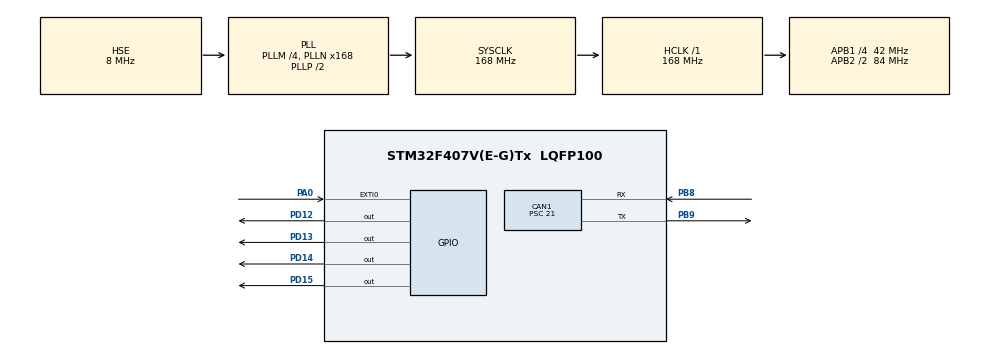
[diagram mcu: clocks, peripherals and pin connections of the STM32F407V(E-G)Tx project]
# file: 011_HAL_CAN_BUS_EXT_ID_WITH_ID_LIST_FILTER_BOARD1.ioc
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CAN1.BS1=CAN_BS1_10TQ
CAN1.BS2=CAN_BS2_5TQ
CAN1.CalculateTimeQuantum=500.0
CAN1.Prescaler=21
Mcu.Family=STM32F4
Mcu.Name=STM32F407V(E-G)Tx
Mcu.Package=LQFP100
NVIC.CAN1_RX0_IRQn=true\:0\:1\:false\:false\:true\:true\:true
NVIC.EXTI0_IRQn=true\:0\:0\:false\:false\:true\:true\:true
NVIC.PriorityGroup=NVIC_PRIORITYGROUP_0
PA0-WKUP.Signal=GPXTI0
PB8.Mode=Master
PB8.Signal=CAN1_RX
PB9.Mode=Master
PB9.Signal=CAN1_TX
PD12.Signal=GPIO_Output
PD13.Signal=GPIO_Output
PD14.Signal=GPIO_Output
PD15.Signal=GPIO_Output
PH0-OSC_IN.Mode=HSE-External-Oscillator
PH0-OSC_IN.Signal=RCC_OSC_IN
PH1-OSC_OUT.Mode=HSE-External-Oscillator
PH1-OSC_OUT.Signal=RCC_OSC_OUT
ProjectManager.HeapSize=0x200
ProjectManager.StackSize=0x400
ProjectManager.TargetToolchain=STM32CubeIDE
RCC.48MHZClocksFreq_Value=84000000
RCC.AHBFreq_Value=168000000
RCC.APB1CLKDivider=RCC_HCLK_DIV4
RCC.APB1Freq_Value=42000000
RCC.APB1TimFreq_Value=84000000
RCC.APB2CLKDivider=RCC_HCLK_DIV2
RCC.APB2Freq_Value=84000000
RCC.APB2TimFreq_Value=168000000
RCC.CortexFreq_Value=168000000
RCC.HCLKFreq_Value=168000000
RCC.HSE_VALUE=8000000
RCC.HSI_VALUE=16000000
RCC.LSE_VALUE=32768
RCC.PLLM=4
RCC.PLLN=168
RCC.PLLSourceVirtual=RCC_PLLSOURCE_HSE
RCC.SYSCLKFreq_VALUE=168000000
RCC.SYSCLKSource=RCC_SYSCLKSOURCE_PLLCLK
RCC.VCOOutputFreq_Value=336000000
board=custom

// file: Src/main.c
/* USER CODE BEGIN Header */
/**
  ******************************************************************************
  * @file           : main.c
  * @brief          : Main program body
  ******************************************************************************
  * @attention
  ***********************************************************************************************
  ***** 2 FARKLI EXT ID MASK İLE BİRDEN FAZLA ARALIKTAKİ  IDLERDEN MESAJ ALIMI    ***************
  ***********************************************************************************************
  ***********************************************************************************************
  */
/* USER CODE END Header */

#include "main.h"

/* USER CODE BEGIN Includes */
#define CAN_IDE_32    0b00000100

/* USER CODE END Includes */

CAN_HandleTypeDef hcan1;

/* USER CODE BEGIN PV */
CAN_TxHeaderTypeDef pTxHeader; // Gönderecegimiz verileri için
CAN_RxHeaderTypeDef pRxHeader; // Alacagımız veriler için
CAN_FilterTypeDef sFilterConfig; // Filtre özellikleri için

uint8_t count=0;
uint8_t rcount=0;
uint32_t pTxMailbox;
/* USER CODE END PV */

void SystemClock_Config(void);
static void MX_GPIO_Init(void);
static void MX_CAN1_Init(void);

int main(void)
{

  /* MCU Configuration--------------------------------------------------------*/

  /* Reset of all peripherals, Initializes the Flash interface and the Systick. */
  HAL_Init();

  /* Configure the system clock */
  SystemClock_Config();

  /* Initialize all configured peripherals */
  MX_GPIO_Init();
  MX_CAN1_Init();
  /* USER CODE BEGIN 2 */

      // Start CAN communication
  HAL_CAN_Start(&hcan1);

// Enable interrupt
  HAL_CAN_ActivateNotification(&hcan1, CAN_IT_RX_FIFO0_MSG_PENDING); // fifo0'a mesaj gelince aktif olsun interrupt
                                            /* hangi interruptı aktif etmek istiyorsak onun parametresini ekledik
                                             @arg CAN_Interrupts can.h kütüphanesinden parametreleri görebiliriz.  */
               // Butona basılınca can ile mesajı göndericegiz detaylar EXTI0_IRQHandler fonksiyonunda (in stm32f4xx_it.c)

// Set pHeader Parameters
  pTxHeader.DLC = 1;      // Specifies the length of the frame that will be transmitted. (Biz 1 bytlık veri gönderiyoruz)
  pTxHeader.IDE = CAN_ID_EXT;       // Specifies the type of identifier for the message that will be transmitted.
  	  	  	  	  	  	  	  	  // @ref CAN_identifier_type içinde alabilecegi degerler mevcut.
  pTxHeader.RTR = CAN_RTR_DATA;     /*!< Specifies the type of frame for the message that will be transmitted.
                                      This parameter can be a value of @ref CAN_remote_transmission_request */
  pTxHeader.ExtId = 0x12FB98;              /*!< Specifies the extended identifier. This parameter must be
  	  	  	  	  	  	  	  	  	          a number between Min_Data = 0 and Max_Data = 0x1FFFFFFF. */

      /* Board1:
   	   * Filter 0:
   	   * FilterIdHigh ,FilterIdLow : 0x1FBF9000
   	   * FilterMaskIdHigh , FilterMaskIdLow : 0x1AB03000
   	   * 2 deger geçicek
   	   * 0x1AB03000 ve  0x1FBF9000
   	   * BOARD2 ExtId 0x1AB03000 veya  0x1FBF9000 olmalı yoksa mesaj alınamaz.
   	   */

  // Alınan veriyi  CAN1_RX0_IRQHandler(void) ile alıcagız. Ayrıntılar -> stm32f4xx_it.c

// Set Filter Parameters // ***** EXT ID LIST Filtre maskeleme ile birden fazla aralıktaki mesajları alma uygulamasi:

  // Filter 0:
  sFilterConfig.FilterActivation = ENABLE;      // Enable or disable the filter.
  sFilterConfig.FilterBank = 0 ;                // Specifies the filter bank which will be initialized.
  sFilterConfig.FilterFIFOAssignment = CAN_FILTER_FIFO0;
  sFilterConfig.FilterIdHigh = 0x1FBF9000 >> 13;       // 0x1FBF9000
  sFilterConfig.FilterIdLow  = 0x1FBF9000 << 3 | CAN_IDE_32;  // 3 bit kaydırdık sola 32 bit oldu.
  	  	  	  	  	  	  	  	  	  	  	  	  	  	  	  // LOW degerinide girdik girmeseydik asagı degerler filtreden geçerdi..
  sFilterConfig.FilterMaskIdHigh =  0x1AB03000 >> 13;  // 0x1AB03000
  sFilterConfig.FilterMaskIdLow  =  0x1AB03000 << 3 | CAN_IDE_32; // CAN_IDE_32 -> EXT ID oldugunu belirtti.0x1FBF9000 de olur aynı degeri girdigimiz için.
  sFilterConfig.FilterMode = CAN_FILTERMODE_IDLIST;
  sFilterConfig.FilterScale = CAN_FILTERSCALE_32BIT;

  HAL_CAN_ConfigFilter(&hcan1, &sFilterConfig);

  /* USER CODE END 2 */

  /* Infinite loop */
  while (1)
  {

  }
}

void SystemClock_Config(void)
{
  RCC_OscInitTypeDef RCC_OscInitStruct = {0};
  RCC_ClkInitTypeDef RCC_ClkInitStruct = {0};

  /**Configure the main internal regulator output voltage
  */
  __HAL_RCC_PWR_CLK_ENABLE();
  __HAL_PWR_VOLTAGESCALING_CONFIG(PWR_REGULATOR_VOLTAGE_SCALE1);
  /**Initializes the CPU, AHB and APB busses clocks
  */
  RCC_OscInitStruct.OscillatorType = RCC_OSCILLATORTYPE_HSE;
  RCC_OscInitStruct.HSEState = RCC_HSE_ON;
  RCC_OscInitStruct.PLL.PLLState = RCC_PLL_ON;
  RCC_OscInitStruct.PLL.PLLSource = RCC_PLLSOURCE_HSE;
  RCC_OscInitStruct.PLL.PLLM = 4;
  RCC_OscInitStruct.PLL.PLLN = 168;
  RCC_OscInitStruct.PLL.PLLP = RCC_PLLP_DIV2;
  RCC_OscInitStruct.PLL.PLLQ = 4;
  if (HAL_RCC_OscConfig(&RCC_OscInitStruct) != HAL_OK)
  {
    Error_Handler();
  }
  /**Initializes the CPU, AHB and APB busses clocks
  */
  RCC_ClkInitStruct.ClockType = RCC_CLOCKTYPE_HCLK|RCC_CLOCKTYPE_SYSCLK
                              |RCC_CLOCKTYPE_PCLK1|RCC_CLOCKTYPE_PCLK2;
  RCC_ClkInitStruct.SYSCLKSource = RCC_SYSCLKSOURCE_PLLCLK;
  RCC_ClkInitStruct.AHBCLKDivider = RCC_SYSCLK_DIV1;
  RCC_ClkInitStruct.APB1CLKDivider = RCC_HCLK_DIV4;
  RCC_ClkInitStruct.APB2CLKDivider = RCC_HCLK_DIV2;

  if (HAL_RCC_ClockConfig(&RCC_ClkInitStruct, FLASH_LATENCY_5) != HAL_OK)
  {
    Error_Handler();
  }
}

static void MX_CAN1_Init(void)
{

  hcan1.Instance = CAN1;
  hcan1.Init.Prescaler = 21;
  hcan1.Init.Mode = CAN_MODE_NORMAL;
  hcan1.Init.SyncJumpWidth = CAN_SJW_1TQ;
  hcan1.Init.TimeSeg1 = CAN_BS1_10TQ;
  hcan1.Init.TimeSeg2 = CAN_BS2_5TQ;
  hcan1.Init.TimeTriggeredMode = DISABLE;
  hcan1.Init.AutoBusOff = DISABLE;
  hcan1.Init.AutoWakeUp = DISABLE;
  hcan1.Init.AutoRetransmission = DISABLE;
  hcan1.Init.ReceiveFifoLocked = DISABLE;
  hcan1.Init.TransmitFifoPriority = DISABLE;
  if (HAL_CAN_Init(&hcan1) != HAL_OK)
  {
    Error_Handler();
  }

}

static void MX_GPIO_Init(void)
{
  GPIO_InitTypeDef GPIO_InitStruct = {0};

  /* GPIO Ports Clock Enable */
  __HAL_RCC_GPIOH_CLK_ENABLE();
  __HAL_RCC_GPIOA_CLK_ENABLE();
  __HAL_RCC_GPIOD_CLK_ENABLE();
  __HAL_RCC_GPIOB_CLK_ENABLE();

  /*Configure GPIO pin Output Level */
  HAL_GPIO_WritePin(GPIOD, GPIO_PIN_12|GPIO_PIN_13|GPIO_PIN_14|GPIO_PIN_15, GPIO_PIN_RESET);

  /*Configure GPIO pin : PA0 */
  GPIO_InitStruct.Pin = GPIO_PIN_0;
  GPIO_InitStruct.Mode = GPIO_MODE_IT_RISING;
  GPIO_InitStruct.Pull = GPIO_PULLDOWN;
  HAL_GPIO_Init(GPIOA, &GPIO_InitStruct);

  /*Configure GPIO pins : PD12 PD13 PD14 PD15 */
  GPIO_InitStruct.Pin = GPIO_PIN_12|GPIO_PIN_13|GPIO_PIN_14|GPIO_PIN_15;
  GPIO_InitStruct.Mode = GPIO_MODE_OUTPUT_PP;
  GPIO_InitStruct.Pull = GPIO_NOPULL;
  GPIO_InitStruct.Speed = GPIO_SPEED_FREQ_LOW;
  HAL_GPIO_Init(GPIOD, &GPIO_InitStruct);

  /* EXTI interrupt init*/
  HAL_NVIC_SetPriority(EXTI0_IRQn, 0, 0);
  HAL_NVIC_EnableIRQ(EXTI0_IRQn);

}

void Error_Handler(void)
{
}

/************************ (C) COPYRIGHT STMicroelectronics *****END OF FILE****/
